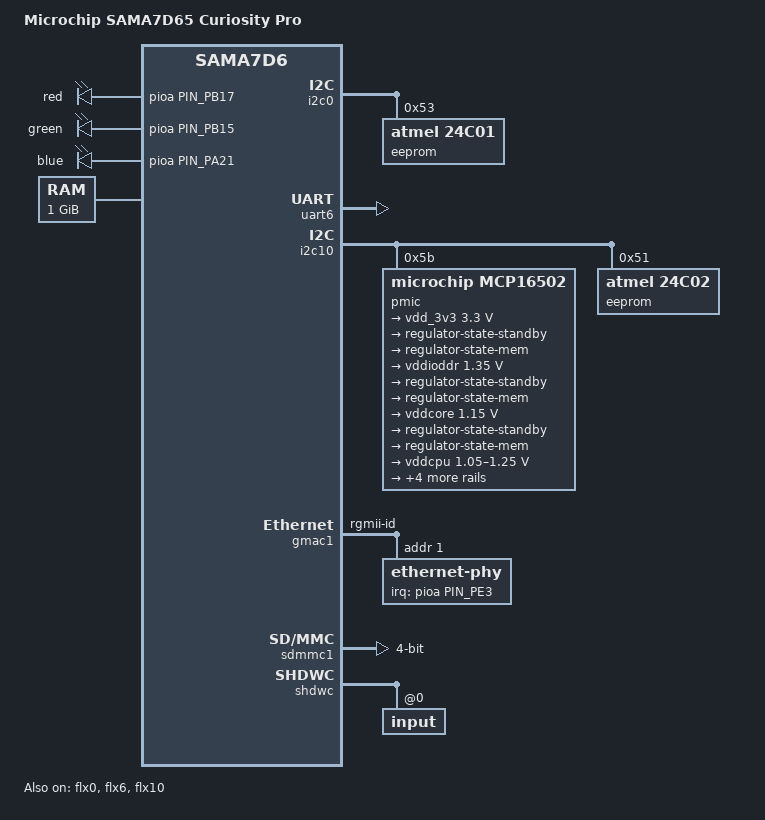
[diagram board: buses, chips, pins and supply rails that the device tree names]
// SPDX-License-Identifier: (GPL-2.0+ OR MIT)
/*
 *  at91-sama7d65_curiosity_pro.dts - Device Tree file for SAMA7D65 Curiosity Pro board
 *
 *  Copyright (c) 2025 Microchip Technology Inc. and its subsidiaries
 *
 * Author: Ryan Wanner <ryan.wanner@microchip.com>
 */
/dts-v1/;
#include "sama7d65-pinfunc.h"
#include "sama7d65.dtsi"
#include <dt-bindings/mfd/atmel-flexcom.h>
#include <dt-bindings/input/input.h>
#include <dt-bindings/pinctrl/at91.h>

/ {
	model = "Microchip SAMA7D65 Curiosity Pro";
	compatible = "microchip,sama7d65-curiosity-pro", "microchip,sama7d65", "microchip,sama7d6", "microchip,sama7";

	chosen {

		bootargs = "rw root=/dev/mmcblk0p2 rootfstype=ext4 rootwait";
		stdout-path = "serial0:115200n8";
	};

	aliases {
		serial0 = &uart6;
		i2c0 = &i2c10;
		ethernet1 = &gmac1;
	};

	clocks {
		slow_xtal {
			clock-frequency = <32768>;
		};

		main_xtal {
			clock-frequency = <24000000>;
		};
	};

	leds {
		compatible = "gpio-leds";
		pinctrl-names = "default";
		pinctrl-0 = <&pinctrl_led_gpio_default>;

		led-red {
			label = "red";
			gpios = <&pioa PIN_PB17 GPIO_ACTIVE_HIGH>; /* Conflict with pwm. */
		};

		led-green {
			label = "green";
			gpios = <&pioa PIN_PB15 GPIO_ACTIVE_HIGH>; /* Conflict with pwm. */
		};

		led-blue {
			label = "blue";
			gpios = <&pioa PIN_PA21 GPIO_ACTIVE_HIGH>;
			linux,default-trigger = "heartbeat";
		};
	};

	memory@60000000 {
		device_type = "memory";
		reg = <0x60000000 0x40000000>;
	};
};

&cpu0 {
	cpu-supply = <&vddcpu>;
};

&dma0 {
	status = "okay";
};

&dma1 {
	status = "okay";
};

&dma2 {
	status = "okay";
};

&flx0 {
	atmel,flexcom-mode = <ATMEL_FLEXCOM_MODE_TWI>;
	status = "okay";
};

&i2c0 {
	pinctrl-names = "default";
	pinctrl-0 = <&pinctrl_i2c0_default>;
	i2c-analog-filter;
	i2c-digital-filter;
	i2c-digital-filter-width-ns = <35>;
	status = "okay";

  eeprom@53 {
		compatible = "atmel,24c01";
		reg = <0x53>;
		pagesize = <8>;
		status = "okay";
	};
};

&flx6 {
	atmel,flexcom-mode = <ATMEL_FLEXCOM_MODE_USART>;
	status = "okay";
};

&uart6 {
	pinctrl-names = "default";
	pinctrl-0 = <&pinctrl_uart6_default>;
	status = "okay";
};

&flx10 {
	atmel,flexcom-mode = <ATMEL_FLEXCOM_MODE_TWI>;
	status = "okay";
};

&i2c10 {
	pinctrl-names = "default";
	pinctrl-0 = <&pinctrl_i2c10_default>;
	i2c-analog-filter;
	i2c-digital-filter;
	i2c-digital-filter-width-ns = <35>;
	status = "okay";

	pmic@5b {
		compatible = "microchip,mcp16502";
		reg = <0x5b>;

		regulators {
			vdd_3v3: VDD_IO {
				regulator-name = "VDD_IO";
				regulator-min-microvolt = <3300000>;
				regulator-max-microvolt = <3300000>;
				regulator-initial-mode = <2>;
				regulator-allowed-modes = <2>, <4>;
				regulator-always-on;

				regulator-state-standby {
					regulator-on-in-suspend;
					regulator-suspend-microvolt = <3300000>;
					regulator-mode = <4>;
				};

				regulator-state-mem {
					regulator-off-in-suspend;
					regulator-mode = <4>;
				};
			};

			vddioddr: VDD_DDR {
				regulator-name = "VDD_DDR";
				regulator-min-microvolt = <1350000>;
				regulator-max-microvolt = <1350000>;
				regulator-initial-mode = <2>;
				regulator-allowed-modes = <2>, <4>;
				regulator-always-on;

				regulator-state-standby {
					regulator-on-in-suspend;
					regulator-suspend-microvolt = <1350000>;
					regulator-mode = <4>;
				};

				regulator-state-mem {
					regulator-on-in-suspend;
					regulator-suspend-microvolt = <1350000>;
					regulator-mode = <4>;
				};
			};

			vddcore: VDD_CORE {
				regulator-name = "VDD_CORE";
				regulator-min-microvolt = <1150000>;
				regulator-max-microvolt = <1150000>;
				regulator-initial-mode = <2>;
				regulator-allowed-modes = <2>, <4>;
				regulator-always-on;

				regulator-state-standby {
					regulator-on-in-suspend;
					regulator-suspend-voltage = <1150000>;
					regulator-mode = <4>;
				};

				regulator-state-mem {
					regulator-off-in-suspend;
					regulator-mode = <4>;
				};
			};

			vddcpu: VDD_OTHER {
				regulator-name = "VDD_OTHER";
				regulator-min-microvolt = <1050000>;
				regulator-max-microvolt = <1250000>;
				regulator-initial-mode = <2>;
				regulator-allowed-modes = <2>, <4>;
				regulator-ramp-delay = <3125>;
				regulator-always-on;

				regulator-state-standby {
					regulator-on-in-suspend;
					regulator-suspend-voltage = <1050000>;
					regulator-mode = <4>;
				};

				regulator-state-mem {
					regulator-off-in-suspend;
					regulator-mode = <4>;
				};
			};

			vldo1: LDO1 {
				regulator-name = "LDO1";
				regulator-min-microvolt = <1800000>;
				regulator-max-microvolt = <1800000>;
				regulator-always-on;

				regulator-state-standby {
					regulator-suspend-voltage = <1800000>;
					regulator-on-in-suspend;
				};

				regulator-state-mem {
					regulator-off-in-suspend;
				};
			};

			vldo2: LDO2 {
				regulator-name = "LDO2";
				regulator-min-microvolt = <1200000>;
				regulator-max-microvolt = <3700000>;

				regulator-state-standby {
					regulator-suspend-voltage = <1800000>;
					regulator-on-in-suspend;
				};

				regulator-state-mem {
					regulator-off-in-suspend;
				};
			};
		};
	};

	eeprom@51 {
		compatible = "atmel,24c02"; /* EEPROM is 2Kbits microchip 24aa025e48, an at24c02 with page size of 16 */
		reg = <0x51>;
		pagesize = <16>;
	};
};

&gmac1 {
	#address-cells = <1>;
	#size-cells = <0>;
	pinctrl-names = "default";
	pinctrl-0 = <&pinctrl_gmac1_default
		     &pinctrl_gmac1_mdc_default
		     &pinctrl_gmac1_mdio_default
		     &pinctrl_gmac1_txck_default
		     &pinctrl_gmac1_phy_irq>;
	phy-mode = "rgmii-id";
	status = "okay";

	ethernet-phy@1 {
		reg = <0x1>;
		interrupt-parent = <&pioa>;
		interrupts = <PIN_PE3 IRQ_TYPE_LEVEL_LOW>;
		status = "okay";
	};
};

&pioa {
	pinctrl_gmac1_default: gmac1-default{
		pinmux = <PIN_PD22__G1_TX0>,
			 <PIN_PD23__G1_TX1>,
			 <PIN_PE0__G1_TX2>,
			 <PIN_PE1__G1_TX3>,
			 <PIN_PD27__G1_RX0>,
			 <PIN_PD28__G1_RX1>,
			 <PIN_PD30__G1_RX2>,
			 <PIN_PD31__G1_RX3>,
			 <PIN_PD21__G1_TXCTL>,
			 <PIN_PE2__G1_RXCK>,
			 <PIN_PD24__G1_RXCTL>;
		slew-rate = <0>;
		bias-disable;
	};

	pinctrl_gmac1_mdc_default: gmac1-mdc-default {
		pinmux = <PIN_PD25__G1_MDC>;
		bias-disable;
	};

	pinctrl_gmac1_mdio_default: gmac1-mdio-default {
		pinmux = <PIN_PD26__G1_MDIO>;
		bias-pull-up;
	};

	pinctrl_gmac1_phy_irq: gmac1-phy-irq {
		pinmux = <PIN_PE3__GPIO>;
		bias-disable;
	};

	pinctrl_gmac1_txck_default: gmac1-txck-default {
		pinmux = <PIN_PD29__G1_REFCK>;
		slew-rate = <0>;
		bias-pull-up;
	};

	pinctrl_led_gpio_default: led-gpio-default {
		pinmux = <PIN_PB15__GPIO>,
			 <PIN_PB17__GPIO>,
			 <PIN_PA21__GPIO>;
		bias-pull-up;
	};

	pinctrl_i2c0_default: i2c0-default {
		pinmux = <PIN_PC7__FLEXCOM0_IO0>,
			 <PIN_PC6__FLEXCOM0_IO1>;
		bias-disable;
	};

	pinctrl_i2c10_default: i2c10-default {
		pinmux = <PIN_PB19__FLEXCOM10_IO1>,
			 <PIN_PB20__FLEXCOM10_IO0>;
		bias-disable;
	};

	pinctrl_key_gpio_default: key-gpio-default {
		pinmux = <PIN_PC10__GPIO>;
		bias-pull-up;
	};

	pinctrl_sdmmc1_default: sdmmc1-default {
		cmd-data {
			pinmux = <PIN_PB22__SDMMC1_CMD>,
				 <PIN_PB24__SDMMC1_DAT0>,
				 <PIN_PB25__SDMMC1_DAT1>,
				 <PIN_PB26__SDMMC1_DAT2>,
				 <PIN_PB27__SDMMC1_DAT3>;
			slew-rate = <0>;
			bias-disable;
		};

		ck-cd-rstn-vddsel {
			pinmux = <PIN_PB23__SDMMC1_CK>,
				 <PIN_PB21__SDMMC1_RSTN>,
				 <PIN_PB30__SDMMC1_1V8SEL>,
				 <PIN_PB29__SDMMC1_CD>,
				 <PIN_PB28__SDMMC1_WP>;
			slew-rate = <0>;
			bias-disable;
		};
	};

	pinctrl_uart6_default: uart6-default {
		pinmux = <PIN_PD18__FLEXCOM6_IO0>,
			<PIN_PD19__FLEXCOM6_IO1>;
		bias-disable;
	};
};

&rtt {
	atmel,rtt-rtc-time-reg = <&gpbr 0x0>;
	status = "disabled";
};

&sdmmc1 {
	bus-width = <4>;
	no-1-8-v;
	pinctrl-names = "default";
	pinctrl-0 = <&pinctrl_sdmmc1_default>;
	status = "okay";
};

&shdwc {
	atmel,shdwc-debouncer = <976>;
	status = "okay";

	input@0 {
		reg = <0>;
	};
};
